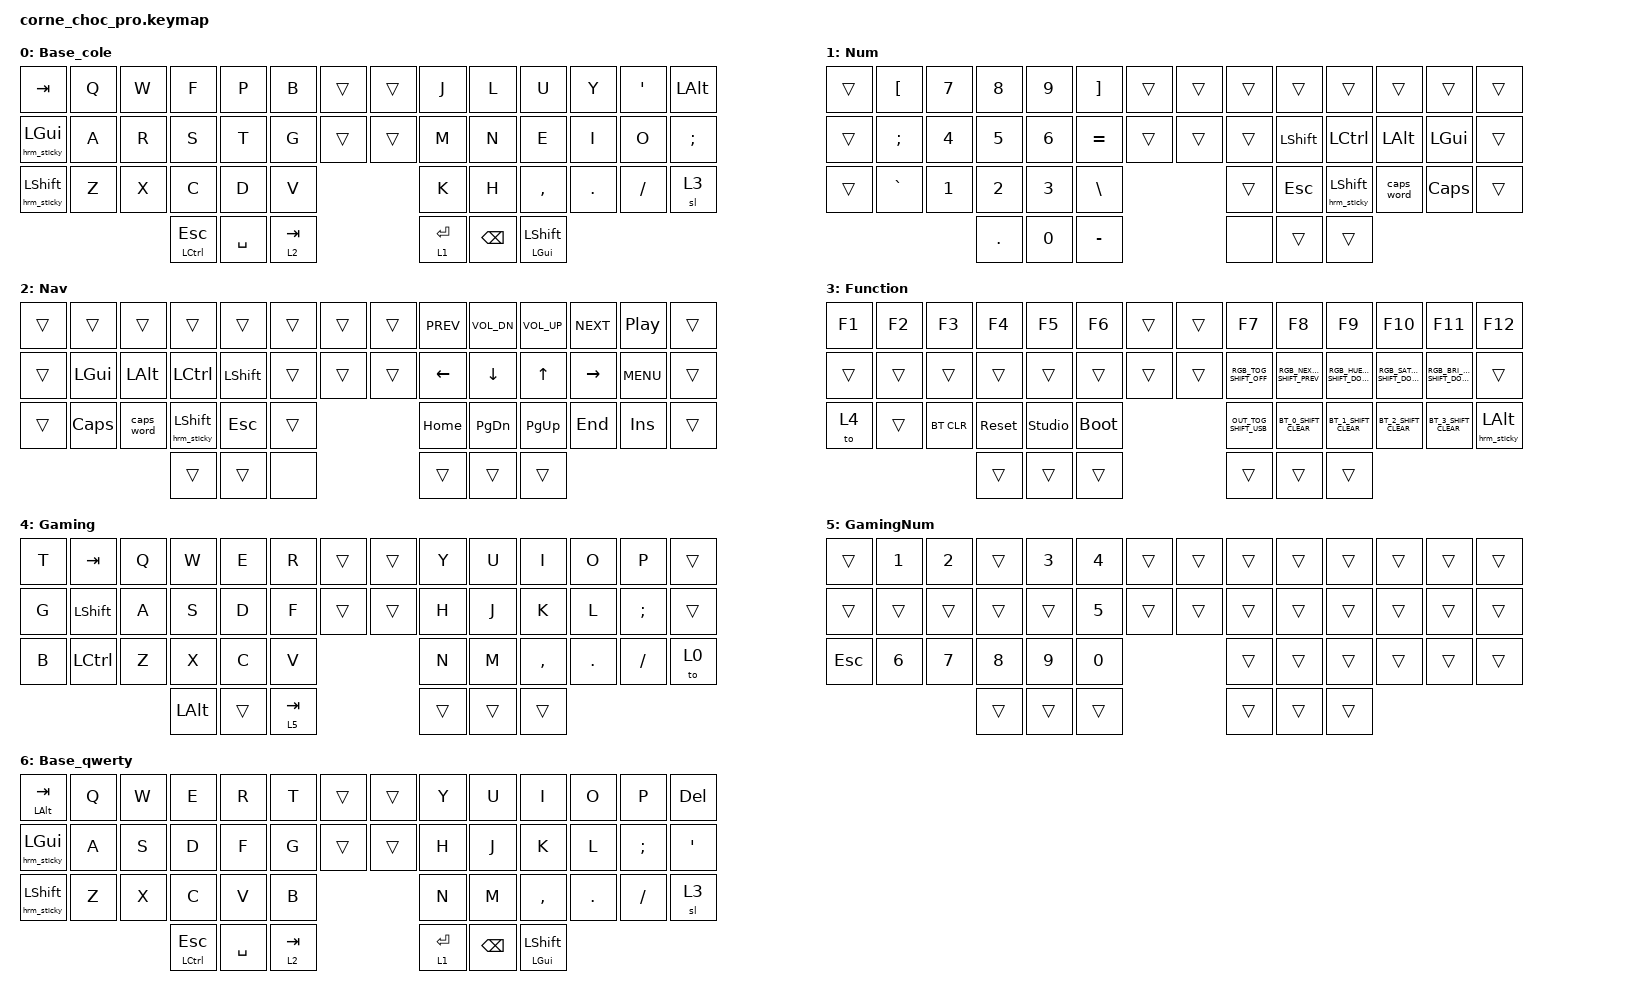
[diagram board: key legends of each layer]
/*
 * Copyright (c) 2020 The ZMK Contributors
 *
 * SPDX-License-Identifier: MIT
 */

#include <behaviors.dtsi>
#include <dt-bindings/zmk/bt.h>
#include <dt-bindings/zmk/ext_power.h>
#include <dt-bindings/zmk/keys.h>
#include <dt-bindings/zmk/outputs.h>
#include <dt-bindings/zmk/rgb.h>

/ {
    chosen { zmk,physical-layout = &default_layout; };
};

/ {
    behaviors {
        to_tap_layer: to_tap_layer {
            compatible = "zmk,behavior-tap-dance";
            label = "TO_TAP_LAYER";
            #binding-cells = <0>;
            bindings = <&none>, <&to 6>;
        };

        activate_bootloader: activate_bootloader {
            compatible = "zmk,behavior-tap-dance";
            label = "ACTIVATE_BOOTLOADER";
            #binding-cells = <0>;
            bindings = <&none>, <&bootloader>;
        };

        to_extra_layer: to_extra_layer {
            compatible = "zmk,behavior-tap-dance";
            label = "TO_EXTRA_LAYER";
            #binding-cells = <0>;
            bindings = <&none>, <&to 6>;
        };

        to_base_layer: to_base_layer {
            compatible = "zmk,behavior-tap-dance";
            label = "TO_BASE_LAYER";
            #binding-cells = <0>;
            bindings = <&none>, <&to 6>;
        };

        sys_reset_double_tep: sys_reset_double_tep {
            compatible = "zmk,behavior-tap-dance";
            label = "SYS_RESET_DOUBLE_TEP";
            #binding-cells = <0>;
            bindings = <&none>, <&sys_reset>;
        };

        RGB_TOG_SHIFT_OFF: RGB_TOG_SHIFT_OFF {
            compatible = "zmk,behavior-mod-morph";
            label = "RGB_TOG_SHIFT_OFF";
            bindings = <&rgb_ug RGB_TOG>, <&rgb_ug RGB_OFF>;

            #binding-cells = <0>;
            mods = <(MOD_RSFT|MOD_LSFT)>;
        };

        RGB_NEXT_MODE_SHIFT_PREV: RGB_NEXT_MODE_SHIFT_PREV {
            compatible = "zmk,behavior-mod-morph";
            label = "RGB_NEXT_MODE_SHIFT_PREV";
            bindings = <&rgb_ug RGB_EFF>, <&rgb_ug RGB_EFR>;

            #binding-cells = <0>;
            mods = <(MOD_RSFT|MOD_LSFT)>;
        };

        RGB_HUE_UP_SHIFT_DOWN: RGB_HUE_UP_SHIFT_DOWN {
            compatible = "zmk,behavior-mod-morph";
            label = "RGB_HUE_UP_SHIFT_DOWN";
            bindings = <&rgb_ug RGB_HUI>, <&rgb_ug RGB_HUD>;

            #binding-cells = <0>;
            mods = <(MOD_RSFT|MOD_LSFT)>;
        };

        RGB_SAT_UP_SHIFT_DOWN: RGB_SAT_UP_SHIFT_DOWN {
            compatible = "zmk,behavior-mod-morph";
            label = "RGB_SAT_UP_SHIFT_DOWN";
            bindings = <&rgb_ug RGB_SAI>, <&rgb_ug RGB_SAD>;

            #binding-cells = <0>;
            mods = <(MOD_RSFT|MOD_LSFT)>;
        };

        RGB_BRI_UP_SHIFT_DOWN: RGB_BRI_UP_SHIFT_DOWN {
            compatible = "zmk,behavior-mod-morph";
            label = "RGB_BRI_UP_SHIFT_DOWN";
            bindings = <&rgb_ug RGB_BRI>, <&rgb_ug RGB_BRD>;

            #binding-cells = <0>;
            mods = <(MOD_RSFT|MOD_LSFT)>;
        };

        EP_TOG_SHIFT_OFF: EP_TOG_SHIFT_OFF {
            compatible = "zmk,behavior-mod-morph";
            label = "EP_TOG_SHIFT_OFF";
            bindings = <&ext_power EP_TOG>, <&ext_power EP_OFF>;

            #binding-cells = <0>;
            mods = <(MOD_RSFT|MOD_LSFT)>;
        };

        OUT_TOG_SHIFT_USB: OUT_TOG_SHIFT_USB {
            compatible = "zmk,behavior-mod-morph";
            label = "OUT_TOG_SHIFT_USB";
            bindings = <&out OUT_TOG>, <&out OUT_USB>;

            #binding-cells = <0>;
            mods = <(MOD_RSFT|MOD_LSFT)>;
        };

        BT_0_SHIFT_CLEAR: BT_0_SHIFT_CLEAR {
            compatible = "zmk,behavior-mod-morph";
            label = "BT_0_SHIFT_CLEAR";
            bindings = <&bt BT_SEL 0>, <&SEL_AND_CLEAR_BT_MACRO 0>;

            #binding-cells = <0>;
            mods = <(MOD_RSFT|MOD_LSFT)>;
        };

        BT_1_SHIFT_CLEAR: BT_1_SHIFT_CLEAR {
            compatible = "zmk,behavior-mod-morph";
            label = "BT_1_SHIFT_CLEAR";
            bindings = <&bt BT_SEL 1>, <&SEL_AND_CLEAR_BT_MACRO 1>;

            #binding-cells = <0>;
            mods = <(MOD_RSFT|MOD_LSFT)>;
        };

        BT_2_SHIFT_CLEAR: BT_2_SHIFT_CLEAR {
            compatible = "zmk,behavior-mod-morph";
            label = "BT_2_SHIFT_CLEAR";
            bindings = <&bt BT_SEL 2>, <&SEL_AND_CLEAR_BT_MACRO 2>;

            #binding-cells = <0>;
            mods = <(MOD_RSFT|MOD_LSFT)>;
        };

        BT_3_SHIFT_CLEAR: BT_3_SHIFT_CLEAR {
            compatible = "zmk,behavior-mod-morph";
            label = "BT_3_SHIFT_CLEAR";
            bindings = <&bt BT_SEL 3>, <&SEL_AND_CLEAR_BT_MACRO 3>;

            #binding-cells = <0>;
            mods = <(MOD_RSFT|MOD_LSFT)>;
        };

        TAP_KP_HOLD_TO_LAYER: TAP_KP_HOLD_TO_LAYER {
            compatible = "zmk,behavior-hold-tap";
            label = "TAP_KP_HOLD_TO_LAYER";
            bindings = <&kp>, <&to>;

            #binding-cells = <2>;
            tapping-term-ms = <200>;
        };

        hrm_sticky: hrm_sticky {
            compatible = "zmk,behavior-sticky-key";
            label = "HRM_STICKY";
            bindings = <&kp>;
            #binding-cells = <1>;
            release-after-ms = <1000>;
            quick-release;
            ignore-modifiers;
        };

        better_layer_hold_tap: better_layer_hold_tap {
            compatible = "zmk,behavior-hold-tap";
            label = "BETTER_LAYER_HOLD_TAP";
            bindings = <&mo>, <&kp>;

            #binding-cells = <2>;
            tapping-term-ms = <100>;
            quick-tap-ms = <150>;
            retro-tap;
        };

        sticky_hold_tap: sticky_hold_tap {
            compatible = "zmk,behavior-hold-tap";
            label = "STICKY_HOLD_TAP";
            bindings = <&kp>, <&hrm_sticky>;

            #binding-cells = <2>;
            tapping-term-ms = <200>;
        };

        better_mod_tap: better_mod_tap {
            compatible = "zmk,behavior-hold-tap";
            label = "BETTER_MOD_TAP";
            bindings = <&kp>, <&kp>;

            #binding-cells = <2>;
            tapping-term-ms = <100>;
            quick-tap-ms = <150>;
            retro-tap;
            flavor = "balanced";
        };
    };

    macros {
        SEL_AND_CLEAR_BT_MACRO: SEL_AND_CLEAR_BT_MACRO {
            compatible = "zmk,behavior-macro-one-param";
            #binding-cells = <1>;
            bindings = <&macro_param_1to2 &bt BT_SEL MACRO_PLACEHOLDER &bt BT_CLR>;
            label = "SEL_AND_CLEAR_BT_MACRO";
        };
    };

    keymap {
        compatible = "zmk,keymap";

        Base_cole {
            label = "Base_cole";
            bindings = <
&kp TAB            &kp Q  &kp W  &kp F                      &kp P      &kp B                         &trans  &trans  &kp J                           &kp L          &kp U                             &kp Y    &kp SQT   &kp LEFT_ALT
&hrm_sticky LGUI   &kp A  &kp R  &kp S                      &kp T      &kp G                         &trans  &trans  &kp M                           &kp N          &kp E                             &kp I    &kp O     &kp SEMI
&hrm_sticky LSHFT  &kp Z  &kp X  &kp C                      &kp D      &kp V                                         &kp K                           &kp H          &kp COMMA                         &kp DOT  &kp FSLH  &sl 3
                                 &better_mod_tap LCTRL ESC  &kp SPACE  &better_layer_hold_tap 2 TAB                  &better_layer_hold_tap 1 ENTER  &kp BACKSPACE  &sticky_hold_tap LGUI LEFT_SHIFT
            >;
        };

        Num {
            bindings = <
&trans  &kp LEFT_BRACKET  &kp N7  &kp N8      &kp N9  &kp RIGHT_BRACKET  &trans  &trans  &trans  &trans     &trans                  &trans      &trans    &trans
&trans  &kp SEMI          &kp N4  &kp N5      &kp N6  &kp EQUAL          &trans  &trans  &trans  &kp LSHFT  &kp LCTRL               &kp LALT    &kp LGUI  &trans
&trans  &kp GRAVE         &kp N1  &kp N2      &kp N3  &kp BACKSLASH                      &trans  &kp ESC    &hrm_sticky LEFT_SHIFT  &caps_word  &kp CAPS  &trans
                                  &kp PERIOD  &kp N0  &kp MINUS                          &none   &trans     &trans
            >;

            label = "Num";
        };

        Nav {
            bindings = <
&trans  &trans    &trans      &trans                  &trans     &trans  &trans  &trans  &kp C_PREV  &kp C_VOL_DN  &kp C_VOL_UP  &kp C_NEXT  &kp C_PLAY_PAUSE  &trans
&trans  &kp LGUI  &kp LALT    &kp LCTRL               &kp LSHFT  &trans  &trans  &trans  &kp LEFT    &kp DOWN      &kp UP        &kp RIGHT   &kp K_MENU        &trans
&trans  &kp CAPS  &caps_word  &hrm_sticky LEFT_SHIFT  &kp ESC    &trans                  &kp HOME    &kp PG_DN     &kp PG_UP     &kp END     &kp INS           &trans
                              &trans                  &trans     &none                   &trans      &trans        &trans
            >;

            label = "Nav";
        };

        Function {
            bindings = <
&kp F1  &kp F2  &kp F3      &kp F4      &kp F5          &kp F6       &trans  &trans  &kp F7              &kp F8                     &kp F9                  &kp F10                 &kp F11                 &kp F12
&trans  &trans  &trans      &trans      &trans          &trans       &trans  &trans  &RGB_TOG_SHIFT_OFF  &RGB_NEXT_MODE_SHIFT_PREV  &RGB_HUE_UP_SHIFT_DOWN  &RGB_SAT_UP_SHIFT_DOWN  &RGB_BRI_UP_SHIFT_DOWN  &trans
&to 4   &trans  &bt BT_CLR  &sys_reset  &studio_unlock  &bootloader                  &OUT_TOG_SHIFT_USB  &BT_0_SHIFT_CLEAR          &BT_1_SHIFT_CLEAR       &BT_2_SHIFT_CLEAR       &BT_3_SHIFT_CLEAR       &hrm_sticky LEFT_ALT
                            &trans      &trans          &trans                       &trans              &trans                     &trans
            >;

            label = "Function";
        };

        Gaming {
            bindings = <
&kp T  &kp TAB    &kp Q  &kp W         &kp E   &kp R                         &trans  &trans  &kp Y   &kp U   &kp I      &kp O    &kp P     &trans
&kp G  &kp LSHFT  &kp A  &kp S         &kp D   &kp F                         &trans  &trans  &kp H   &kp J   &kp K      &kp L    &kp SEMI  &trans
&kp B  &kp LCTRL  &kp Z  &kp X         &kp C   &kp V                                         &kp N   &kp M   &kp COMMA  &kp DOT  &kp FSLH  &to 0
                         &kp LEFT_ALT  &trans  &better_layer_hold_tap 5 TAB                  &trans  &trans  &trans
            >;

            label = "Gaming";
        };

        GamingNum {
            bindings = <
&trans   &kp N1  &kp N2  &trans  &kp N3  &kp N4  &trans  &trans  &trans  &trans  &trans  &trans  &trans  &trans
&trans   &trans  &trans  &trans  &trans  &kp N5  &trans  &trans  &trans  &trans  &trans  &trans  &trans  &trans
&kp ESC  &kp N6  &kp N7  &kp N8  &kp N9  &kp N0                  &trans  &trans  &trans  &trans  &trans  &trans
                         &trans  &trans  &trans                  &trans  &trans  &trans
            >;

            label = "GamingNum";
        };

        Base_qwerty {
            label = "Base_qwerty";
            bindings = <
&better_mod_tap LEFT_ALT TAB  &kp Q  &kp W  &kp E                      &kp R      &kp T                         &trans  &trans  &kp Y                           &kp U          &kp I                             &kp O    &kp P     &kp DEL
&hrm_sticky LGUI              &kp A  &kp S  &kp D                      &kp F      &kp G                         &trans  &trans  &kp H                           &kp J          &kp K                             &kp L    &kp SEMI  &kp SQT
&hrm_sticky LSHFT             &kp Z  &kp X  &kp C                      &kp V      &kp B                                         &kp N                           &kp M          &kp COMMA                         &kp DOT  &kp FSLH  &sl 3
                                            &better_mod_tap LCTRL ESC  &kp SPACE  &better_layer_hold_tap 2 TAB                  &better_layer_hold_tap 1 ENTER  &kp BACKSPACE  &sticky_hold_tap LGUI LEFT_SHIFT
            >;
        };
    };

    conditional_layers { compatible = "zmk,conditional-layers"; };
};
